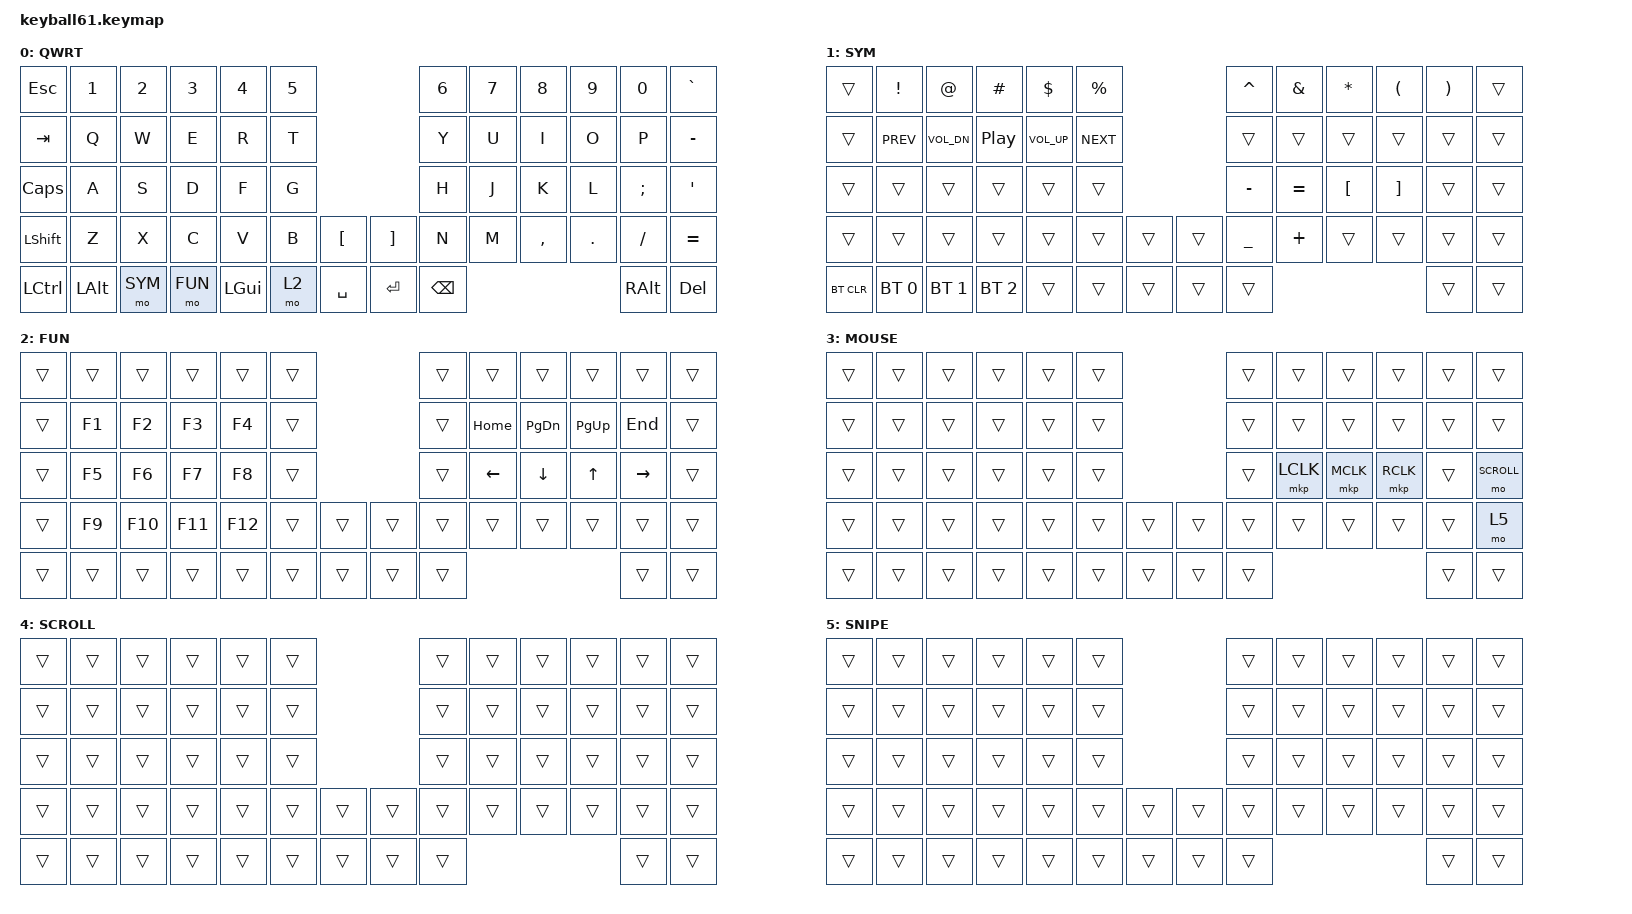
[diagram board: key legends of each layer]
#define DEFAULT 0
#define SYM     1
#define FUN     2
#define MOUSE   3
#define SCROLL  4
#define SNIPE   5

#include <behaviors/mouse_keys.dtsi>
#include <dt-bindings/zmk/mouse.h>
#include <behaviors.dtsi>
#include <dt-bindings/zmk/bt.h>
#include <dt-bindings/zmk/keys.h>
#include <dt-bindings/zmk/pointing.h>

&nice_view_spi { cs-gpios = <&pro_micro 1 GPIO_ACTIVE_HIGH>; };

&lt {
    tapping-term-ms = <240>;
    flavor = "balanced";
    quick-tap-ms = <150>;
};

&mt {
    tapping-term-ms = <200>;
    flavor = "tap-preferred";
    quick-tap-ms = <150>;
};

/ {
    keymap {
        compatible = "zmk,keymap";

        default_layer {
            label = "QWRT";
            bindings = <
&kp ESC           &kp N1        &kp N2   &kp N3   &kp N4        &kp N5                                       &kp N6         &kp N7  &kp N8     &kp N9   &kp N0         &kp GRAVE
&kp TAB           &kp Q         &kp W    &kp E    &kp R         &kp T                                        &kp Y          &kp U   &kp I      &kp O    &kp P          &kp MINUS
&kp CAPS          &kp A         &kp S    &kp D    &kp F         &kp G                                        &kp H          &kp J   &kp K      &kp L    &kp SEMI       &kp SQT
&kp LEFT_SHIFT    &kp Z         &kp X    &kp C    &kp V         &kp B   &kp LEFT_BRACKET  &kp RIGHT_BRACKET  &kp N          &kp M   &kp COMMA  &kp DOT  &kp FSLH       &kp EQUAL
&kp LEFT_CONTROL  &kp LEFT_ALT  &mo SYM  &mo FUN  &kp LEFT_GUI  &mo 2   &kp SPACE         &kp ENTER          &kp BACKSPACE                              &kp RIGHT_ALT  &kp DELETE
            >;
        };

        symbol_layer {
            label = "SYM";
            bindings = <
&trans      &kp EXCLAMATION  &kp AT_SIGN   &kp HASH      &kp DOLLAR    &kp PERCENT                  &kp CARET       &kp AMPERSAND  &kp ASTERISK      &kp LEFT_PARENTHESIS  &kp RIGHT_PARENTHESIS  &trans
&trans      &kp C_PREV       &kp C_VOL_DN  &kp C_PP      &kp C_VOL_UP  &kp C_NEXT                   &trans          &trans         &trans            &trans                &trans                 &trans
&trans      &trans           &trans        &trans        &trans        &trans                       &kp MINUS       &kp EQUAL      &kp LEFT_BRACKET  &kp RIGHT_BRACKET     &trans                 &trans
&trans      &trans           &trans        &trans        &trans        &trans       &trans  &trans  &kp UNDERSCORE  &kp PLUS       &trans            &trans                &trans                 &trans
&bt BT_CLR  &bt BT_SEL 0     &bt BT_SEL 1  &bt BT_SEL 2  &trans        &trans       &trans  &trans  &trans                                                                 &trans                 &trans
            >;
        };

        function_layer {
            label = "FUN";
            bindings = <
&trans  &trans  &trans   &trans   &trans   &trans                  &trans  &trans    &trans     &trans     &trans     &trans
&trans  &kp F1  &kp F2   &kp F3   &kp F4   &trans                  &trans  &kp HOME  &kp PG_DN  &kp PG_UP  &kp END    &trans
&trans  &kp F5  &kp F6   &kp F7   &kp F8   &trans                  &trans  &kp LEFT  &kp DOWN   &kp UP     &kp RIGHT  &trans
&trans  &kp F9  &kp F10  &kp F11  &kp F12  &trans  &trans  &trans  &trans  &trans    &trans     &trans     &trans     &trans
&trans  &trans  &trans   &trans   &trans   &trans  &trans  &trans  &trans                                  &trans     &trans
            >;
        };

        mouse_layer {
            label = "MOUSE";
            bindings = <
&trans  &trans  &trans  &trans  &trans  &trans                  &trans  &trans     &trans     &trans     &trans  &trans
&trans  &trans  &trans  &trans  &trans  &trans                  &trans  &trans     &trans     &trans     &trans  &trans
&trans  &trans  &trans  &trans  &trans  &trans                  &trans  &mkp LCLK  &mkp MCLK  &mkp RCLK  &trans  &mo SCROLL
&trans  &trans  &trans  &trans  &trans  &trans  &trans  &trans  &trans  &trans     &trans     &trans     &trans  &mo 5
&trans  &trans  &trans  &trans  &trans  &trans  &trans  &trans  &trans                                   &trans  &trans
            >;
        };

        scroll_layer {
            label = "SCROLL";
            bindings = <
&trans  &trans  &trans  &trans  &trans  &trans                  &trans  &trans  &trans  &trans  &trans  &trans
&trans  &trans  &trans  &trans  &trans  &trans                  &trans  &trans  &trans  &trans  &trans  &trans
&trans  &trans  &trans  &trans  &trans  &trans                  &trans  &trans  &trans  &trans  &trans  &trans
&trans  &trans  &trans  &trans  &trans  &trans  &trans  &trans  &trans  &trans  &trans  &trans  &trans  &trans
&trans  &trans  &trans  &trans  &trans  &trans  &trans  &trans  &trans                          &trans  &trans
            >;
        };

        snipe_layer {
            label = "SNIPE";
            bindings = <
&trans  &trans  &trans  &trans  &trans  &trans                  &trans  &trans  &trans  &trans  &trans  &trans
&trans  &trans  &trans  &trans  &trans  &trans                  &trans  &trans  &trans  &trans  &trans  &trans
&trans  &trans  &trans  &trans  &trans  &trans                  &trans  &trans  &trans  &trans  &trans  &trans
&trans  &trans  &trans  &trans  &trans  &trans  &trans  &trans  &trans  &trans  &trans  &trans  &trans  &trans
&trans  &trans  &trans  &trans  &trans  &trans  &trans  &trans  &trans                          &trans  &trans
            >;
        };
    };
};
